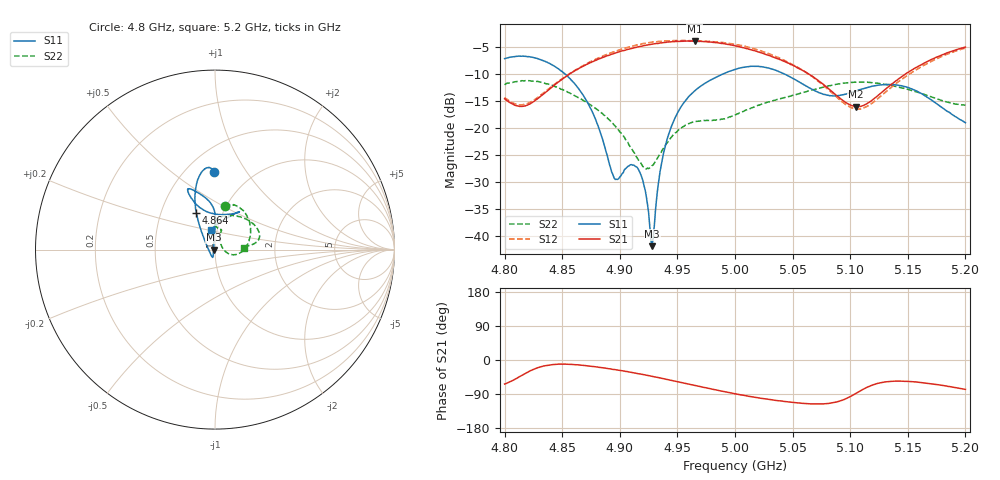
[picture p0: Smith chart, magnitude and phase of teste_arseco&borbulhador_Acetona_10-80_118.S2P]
! Network Analyzer HP8722D
! Hewlett-Packard
! Data name: Linha & Wilkinson
! Saver's name: Rodrigo Anjos
! Comments: Teste da utilização de aquisição
! continua pelo VNA HP8722D
! Time and date: 25/4/2025 16:15
!  Frequency  S11  S21  S12  S22
# HZ  S  MA R 50
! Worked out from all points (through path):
!   401 points, 4.8 GHz to 5.2 GHz, reference 50 ohm
!   highest |S21| = -3.97 dB at 4.965 GHz (marker M1); lowest = -16.1 dB at 5.105 GHz (marker M2)
!   lowest |S11| = -41.9 dB at 4.928 GHz (marker M3), VSWR 1.02, Z = 49.2 - j0.0407 ohm
!   |S11| at or under -10 dB: 4.852 GHz to 4.99 GHz (138.5 MHz wide, 2.81 % of centre); 5.042 GHz to end of sweep
!   |S22| runs from -27.7 to -11.3 dB; largest |S21 - S12| = 1.2
!   S11 on the Smith chart (normalised r, x): 4.8 GHz: 0.68, +0.73; 4.864 GHz: 0.75, +0.33; 5.2 GHz: 0.94, +0.21
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4.8e9  0.4347 90.6  0.185 -63.4  0.1901 70.0  0.2496 77.0
4.82e9  0.453 96.9  0.1616 -32.1  0.1675 98.9  0.272 61.9
4.843e9  0.3717 106.3  0.2468 -11.8  0.2504 118.8  0.2422 36.6
4.864e9  0.2313 116.8  0.3502 -12.8  0.3533 120.8  0.1895 11.9
4.867e9  0.2081 118.4  0.3647 -13.9  0.3687 120.6  0.1825 8.5
4.88e9  0.1113 128.8  0.4229 -18.4  0.4342 118.1  0.1478 -5.3
4.895e9  0.03438 -174.0  0.4856 -24.9  0.5023 113.6  0.1061 -15.7
4.91e9  0.04553 -107.5  0.5411 -32.7  0.564 107.1  0.06445 -13.4
4.917e9  0.03942 -105.5  0.5626 -36.6  0.5894 103.4  0.04865 -0.8
4.922e9  0.02655 -109.6  0.5766 -39.4  0.6031 100.6  0.04269 16.7
4.928e9  0.008009 -177.0  0.5922 -43.2  0.6174 96.9  0.0445 41.6
4.934e9  0.03342 100.7  0.6031 -46.8  0.6281 93.1  0.05525 58.5
4.939e9  0.06446 93.5  0.6145 -49.9  0.6344 89.8  0.06744 66.0
4.946e9  0.1102 90.3  0.6248 -54.6  0.6372 85.5  0.08478 69.9
4.965e9  0.2189 91.0  0.633 -67.0  0.6353 73.4  0.1139 71.7
5e9  0.3456 109.0  0.5717 -89.0  0.5909 50.7  0.1309 88.2
5.029e9  0.3562 115.1  0.4673 -103.7  0.4851 34.1  0.1726 85.8
5.067e9  0.2263 105.2  0.2998 -115.9  0.2969 23.6  0.2225 57.0
5.105e9  0.2184 65.3  0.1562 -88.4  0.1488 54.8  0.263 25.3
5.134e9  0.2507 57.3  0.2424 -56.5  0.228 88.7  0.2475 12.3
5.169e9  0.1845 70.0  0.4192 -62.1  0.4036 84.6  0.1946 6.8
5.2e9  0.1111 100.8  0.5561 -77.6  0.546 70.1  0.1615 3.9
